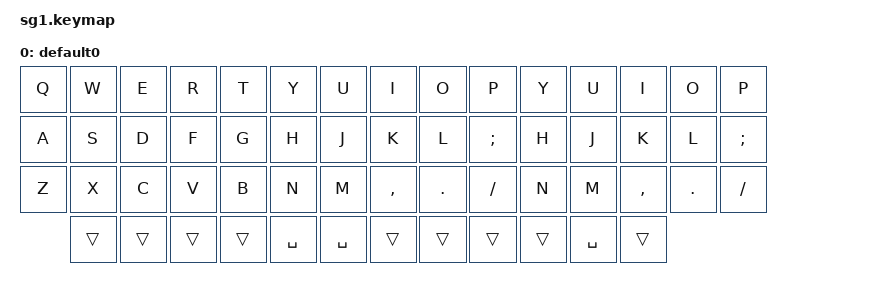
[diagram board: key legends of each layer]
#include <behaviors.dtsi>
#include <dt-bindings/zmk/keys.h>

/ {
    keymap {
        compatible = "zmk,keymap";
        default0 { bindings = <
//╭── 00      ──┬── 01     ──┬── 02     ──┬── 03     ──┬── 04     ──╮                        ╭── 05      ──┬── 06    ──┬── 07    ──┬── 08   ──┬── 09       ──╮               ╭── 05      ──┬── 06    ──┬── 07    ──┬── 08   ──┬── 09       ──╮
  &kp Q         &kp W        &kp E        &kp R        &kp T                                 &kp Y         &kp U       &kp I       &kp O      &kp P                          &kp Y         &kp U       &kp I       &kp O      &kp P
//├── 10      ──┼── 11     ──┼── 12     ──┼── 13     ──┼── 14     ──┤                        ├── 15      ──┼── 16    ──┼── 17    ──┼── 18   ──┼── 19       ──┤               ├── 15      ──┼── 16    ──┼── 17    ──┼── 18   ──┼── 19       ──┤
  &kp A         &kp S        &kp D        &kp F        &kp G                                 &kp H         &kp J       &kp K       &kp L      &kp SEMI                       &kp H         &kp J       &kp K       &kp L      &kp SEMI
//├── 20      ──┼── 21     ──┼── 22     ──┼── 23     ──┼── 24     ──┤                        ├── 25      ──┼── 26    ──┼── 27    ──┼── 28   ──┼── 29       ──┤               ├── 25      ──┼── 26    ──┼── 27    ──┼── 28   ──┼── 29       ──┤
  &kp Z         &kp X        &kp C        &kp V        &kp B                                 &kp N         &kp M       &kp COMMA   &kp DOT    &kp FSLH                       &kp N         &kp M       &kp COMMA   &kp DOT    &kp FSLH
//╰──         ──┼── 30     ──┴── 31     ──┼── 32     ──┼── 33     ──┼── 34    ──╮╭── 35    ──┼── 36      ──┼── 37    ──┼── 38    ──┼── 39   ──┴──          ──╯   ╭── 35    ──┼── 36      ──┼── 37    ──┼── 38    ──┼── 39   ──┴──          ──╯
                &trans       &trans       &trans       &trans       &kp SPACE    &kp SPACE   &trans        &trans      &trans      &trans                        &kp SPACE   &trans        >; };
//              ╰──        ──┴──        ──┴──        ──┴──        ──┴──       ──╯╰──       ──┴──         ──┴──       ──┴──       ──┴──      ──╯                  ╰──       ──┴──         ──╯
    };
};
